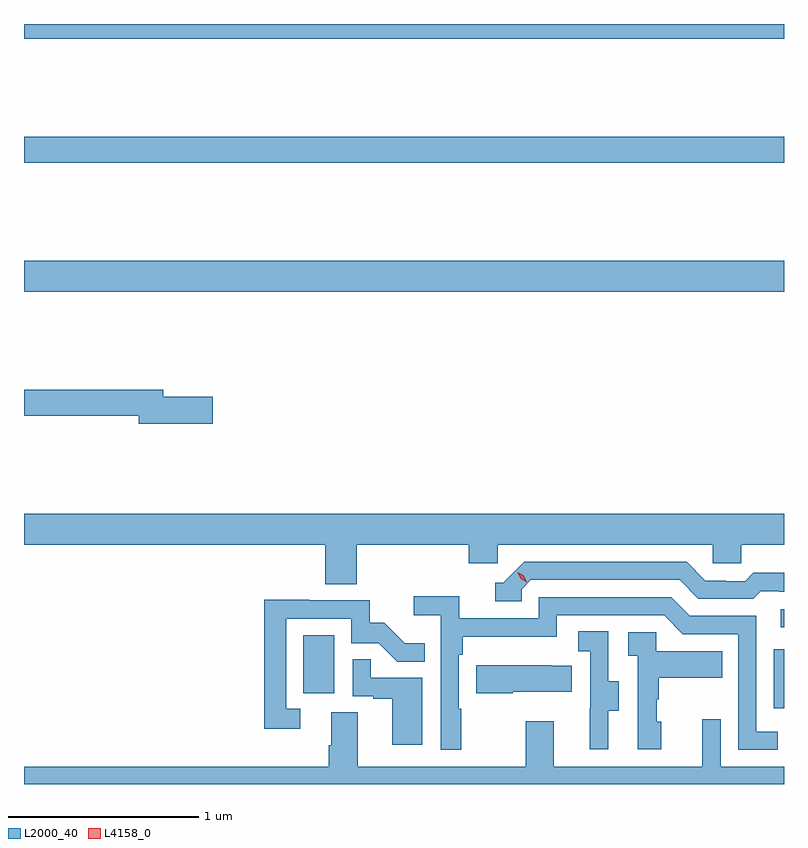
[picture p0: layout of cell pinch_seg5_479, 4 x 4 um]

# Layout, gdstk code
import gdstk
lib = gdstk.Library(unit=1e-6, precision=1e-09)
def R(c, l, rs):  # rectangles x0, y0, x1, y1
    for r in rs: c.add(gdstk.rectangle(r[:2], r[2:], *l))
def P(c, l, *ps):  # polygons
    for p in ps: c.add(gdstk.Polygon(p, *l))
L2000_40 = (2000, 40)
L4158_0 = (4158, 0)

pinch_seg5_479 = lib.new_cell('pinch_seg5_479')
R(pinch_seg5_479, L2000_40, [(915.048,843.912,915.103,844.222), (912.572,843.99,912.736,844.297), (915.087,844.338,915.103,844.434), (911.103,846.104,915.103,846.268), (911.103,846.784,915.103,846.92), (911.103,847.436,915.103,847.513)])
P(pinch_seg5_479, L2000_40, [(912.097,845.552),(911.836,845.552),(911.836,845.588),(911.103,845.588),(911.103,845.452),(911.708,845.452),(911.708,845.41),(912.097,845.41)],
  [(912.854,844.772),(913.445,844.772),(913.445,844.674),(913.596,844.674),(913.596,844.772),(914.727,844.772),(914.727,844.674),(914.877,844.674),(914.877,844.772),(915.103,844.772),(915.103,844.936),(911.103,844.936),(911.103,844.772),(912.689,844.772),(912.689,844.564),(912.854,844.564)],
  [(913.722,844.539),(913.77,844.587),(914.553,844.587),(914.652,844.488),(914.941,844.488),(914.98,844.527),(915.079,844.527),(915.079,844.524),(915.103,844.524),(915.103,844.624),(914.941,844.624),(914.899,844.581),(914.796,844.581),(914.796,844.584),(914.689,844.584),(914.59,844.683),(913.737,844.683),(913.626,844.572),(913.583,844.572),(913.583,844.476),(913.722,844.476)],
  [(913.405,843.908),(913.392,843.908),(913.392,844.193),(913.412,844.193),(913.412,844.289),(913.908,844.289),(913.908,844.401),(914.472,844.401),(914.571,844.302),(914.862,844.302),(914.862,843.693),(915.071,843.693),(915.071,843.789),(914.958,843.789),(914.958,844.398),(914.608,844.398),(914.509,844.497),(913.812,844.497),(913.812,844.386),(913.394,844.386),(913.394,844.502),(913.155,844.502),(913.155,844.4),(913.296,844.4),(913.296,843.693),(913.405,843.693)],
  [(912.556,843.909),(912.483,843.909),(912.483,844.383),(912.825,844.383),(912.825,844.254),(912.969,844.254),(913.067,844.156),(913.211,844.156),(913.211,844.255),(913.107,844.255),(913,844.362),(912.924,844.362),(912.924,844.479),(912.605,844.479),(912.605,844.484),(912.367,844.484),(912.367,843.804),(912.556,843.804)],
  [(914.179,843.898),(914.233,843.898),(914.233,844.053),(914.178,844.053),(914.178,844.316),(914.019,844.316),(914.019,844.213),(914.082,844.213),(914.082,843.909),(914.081,843.909),(914.081,843.696),(914.179,843.696)],
  [(914.458,843.84),(914.433,843.84),(914.433,843.959),(914.443,843.959),(914.443,844.073),(914.777,844.073),(914.777,844.213),(914.43,844.213),(914.43,844.311),(914.283,844.311),(914.283,844.187),(914.334,844.187),(914.334,843.696),(914.458,843.696)],
  [(913.198,844.071),(912.929,844.071),(912.929,844.169),(912.834,844.169),(912.834,843.975),(912.941,843.975),(912.941,843.963),(913.04,843.963),(913.04,843.72),(913.198,843.72)],
  [(913.675,843.998),(913.985,843.998),(913.985,844.135),(913.877,844.135),(913.877,844.138),(913.484,844.138),(913.484,843.991),(913.675,843.991)],
  [(915.103,843.604),(914.769,843.604),(914.769,843.853),(914.672,843.853),(914.672,843.604),(913.891,843.604),(913.891,843.844),(913.744,843.844),(913.744,843.604),(912.859,843.604),(912.859,843.89),(912.719,843.89),(912.719,843.716),(912.707,843.716),(912.707,843.604),(911.103,843.604),(911.103,843.513),(915.103,843.513)])
P(pinch_seg5_479, L4158_0, [(913.748,844.575),(913.717,844.594),(913.701,844.627),(913.701,844.627),(913.702,844.627),(913.732,844.608),(913.748,844.575),(913.748,844.575)])

lib.write_gds('pinch_seg5_479.gds')
